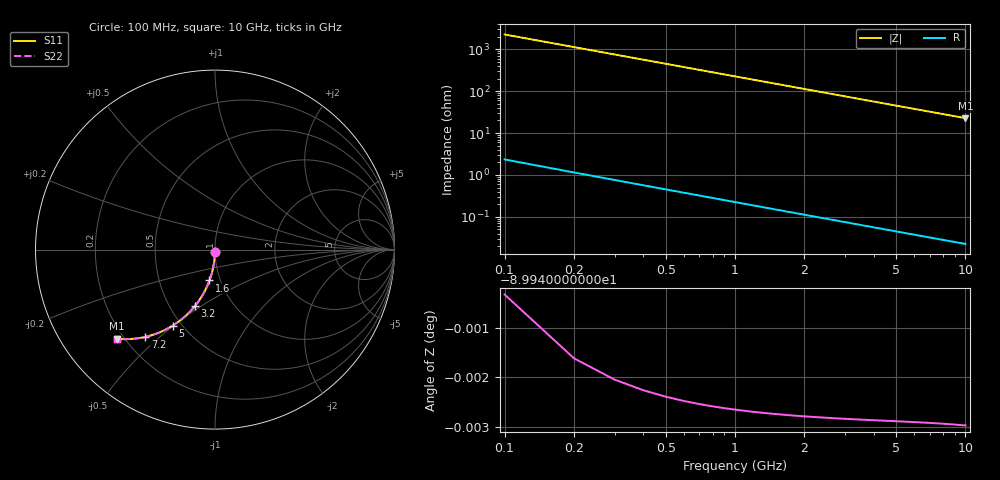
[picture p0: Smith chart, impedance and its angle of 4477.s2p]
# Hz S RI R 50.00
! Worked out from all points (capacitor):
!   100 points, 100 MHz to 10 GHz, reference 50 ohm
!   read as one part in shunt: C = 707 fF near 100 MHz
!   lowest |Z| = 22.7 ohm at 10 GHz (marker M1)
!   S11 on the Smith chart (normalised r, x): 100 MHz: 1.00, -0.02; 1.6 GHz: 0.89, -0.32; 3.2 GHz: 0.67, -0.47; 5 GHz: 0.45, -0.50; 7.2 GHz: 0.28, -0.45; 10 GHz: 0.17, -0.38
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1e8  -0.000132 -0.0111  0.9999 -0.0111  0.9999 -0.0111  -0.000132 -0.0111
2e8  -0.000513 -0.0222  0.9995 -0.0222  0.9995 -0.0222  -0.000513 -0.0222
3e8  -0.00114 -0.0333  0.9989 -0.0333  0.9989 -0.0333  -0.00114 -0.0333
4e8  -0.00201 -0.0443  0.998 -0.0444  0.998 -0.0444  -0.00201 -0.0443
5e8  -0.00313 -0.0553  0.9969 -0.0554  0.9969 -0.0554  -0.00313 -0.0553
6e8  -0.00448 -0.0663  0.9955 -0.0664  0.9955 -0.0664  -0.00448 -0.0663
7e8  -0.00608 -0.0772  0.9939 -0.0773  0.9939 -0.0773  -0.00608 -0.0772
9e8  -0.00998 -0.0989  0.99 -0.099  0.99 -0.099  -0.00998 -0.0989
1.2e9  -0.0176 -0.1308  0.9824 -0.131  0.9824 -0.131  -0.0176 -0.1308
1.6e9  -0.0307 -0.172  0.9693 -0.1722  0.9693 -0.1722  -0.0307 -0.172
1.8e9  -0.0386 -0.1919  0.9614 -0.1922  0.9614 -0.1922  -0.0386 -0.1919
2.4e9  -0.0664 -0.2484  0.9336 -0.2487  0.9336 -0.2487  -0.0664 -0.2484
2.8e9  -0.0882 -0.2829  0.9118 -0.2832  0.9118 -0.2832  -0.0882 -0.2829
3.2e9  -0.112 -0.3147  0.888 -0.3151  0.888 -0.3151  -0.112 -0.3147
3.4e9  -0.1246 -0.3296  0.8754 -0.33  0.8754 -0.33  -0.1246 -0.3296
4.2e9  -0.1782 -0.3819  0.8218 -0.3824  0.8218 -0.3824  -0.1782 -0.3819
5e9  -0.2347 -0.423  0.7653 -0.4236  0.7653 -0.4236  -0.2347 -0.423
5.1e9  -0.2419 -0.4274  0.7581 -0.428  0.7581 -0.428  -0.2419 -0.4274
6.7e9  -0.3543 -0.4774  0.6457 -0.4782  0.6457 -0.4782  -0.3543 -0.4774
7.2e9  -0.3877 -0.4863  0.6123 -0.4872  0.6123 -0.4872  -0.3877 -0.4863
8.4e9  -0.4623 -0.4975  0.5376 -0.4986  0.5376 -0.4986  -0.4623 -0.4975
1e10  -0.5487 -0.4965  0.4513 -0.4978  0.4513 -0.4978  -0.5487 -0.4965
